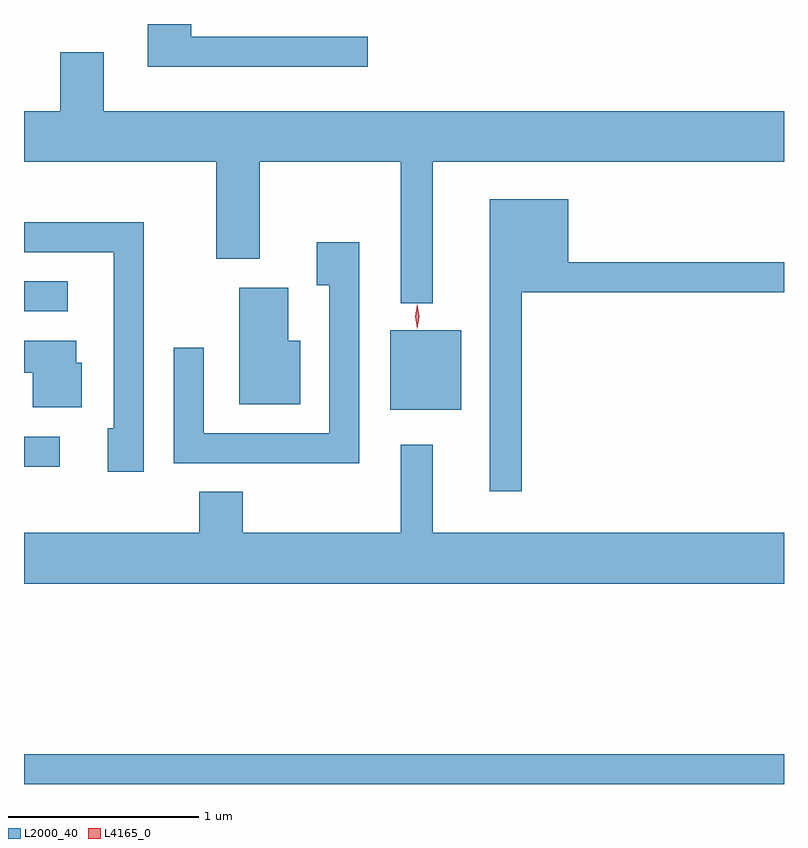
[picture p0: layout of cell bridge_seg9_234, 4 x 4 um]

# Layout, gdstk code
import gdstk
lib = gdstk.Library(unit=1e-6, precision=1e-09)
def R(c, l, rs):  # rectangles x0, y0, x1, y1
    for r in rs: c.add(gdstk.rectangle(r[:2], r[2:], *l))
def P(c, l, *ps):  # polygons
    for p in ps: c.add(gdstk.Polygon(p, *l))
L2000_40 = (2000, 40)
L4165_0 = (4165, 0)

bridge_seg9_234 = lib.new_cell('bridge_seg9_234')
R(bridge_seg9_234, L2000_40, [(1427.339,1955.242,1431.339,1955.399), (1427.339,1956.911,1427.528,1957.069), (1429.266,1957.211,1429.639,1957.629), (1427.339,1957.731,1427.568,1957.889)])
P(bridge_seg9_234, L2000_40, [(1429.148,1959.174),(1428.219,1959.174),(1428.219,1959.242),(1427.991,1959.242),(1427.991,1959.016),(1429.148,1959.016)],
  [(1429.489,1958.516),(1431.339,1958.516),(1431.339,1958.784),(1427.759,1958.784),(1427.759,1959.094),(1427.531,1959.094),(1427.531,1958.784),(1427.339,1958.784),(1427.339,1958.516),(1428.351,1958.516),(1428.351,1958.006),(1428.579,1958.006),(1428.579,1958.516),(1429.321,1958.516),(1429.321,1957.773),(1429.489,1957.773)],
  [(1429.959,1957.831),(1431.339,1957.831),(1431.339,1957.989),(1430.204,1957.989),(1430.204,1958.319),(1429.791,1958.319),(1429.791,1956.783),(1429.959,1956.783)],
  [(1427.969,1958.199),(1427.339,1958.199),(1427.339,1958.041),(1427.811,1958.041),(1427.811,1957.114),(1427.781,1957.114),(1427.781,1956.886),(1427.969,1956.886)],
  [(1429.104,1958.094),(1428.881,1958.094),(1428.881,1957.866),(1428.946,1957.866),(1428.946,1957.089),(1428.284,1957.089),(1428.284,1957.538),(1428.126,1957.538),(1428.126,1956.931),(1429.104,1956.931)],
  [(1428.794,1957.574),(1428.729,1957.574),(1428.729,1957.854),(1428.471,1957.854),(1428.471,1957.241),(1428.794,1957.241)],
  [(1427.644,1957.459),(1427.614,1957.459),(1427.614,1957.574),(1427.339,1957.574),(1427.339,1957.406),(1427.386,1957.406),(1427.386,1957.226),(1427.644,1957.226)],
  [(1431.339,1956.564),(1429.489,1956.564),(1429.489,1957.028),(1429.321,1957.028),(1429.321,1956.564),(1428.489,1956.564),(1428.489,1956.779),(1428.261,1956.779),(1428.261,1956.564),(1427.339,1956.564),(1427.339,1956.296),(1431.339,1956.296)])
P(bridge_seg9_234, L4165_0, [(1429.409,1957.638),(1429.409,1957.639),(1429.399,1957.703),(1429.409,1957.767),(1429.409,1957.767),(1429.41,1957.767),(1429.419,1957.703),(1429.41,1957.639)])

lib.write_gds('bridge_seg9_234.gds')
